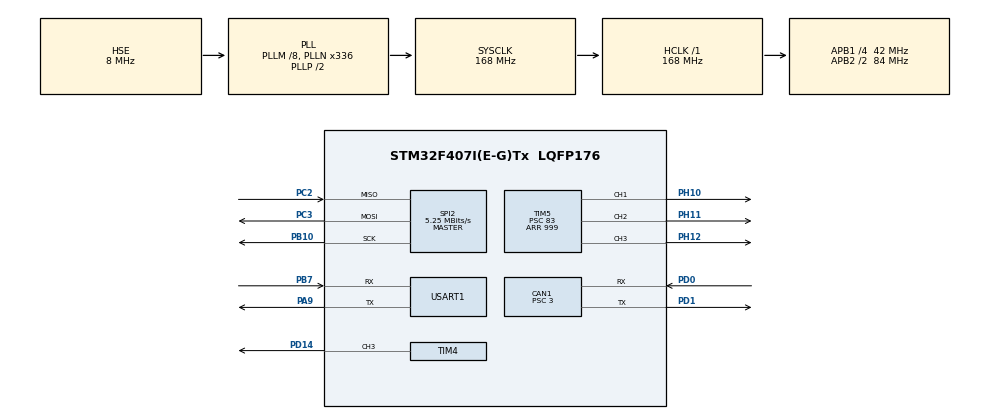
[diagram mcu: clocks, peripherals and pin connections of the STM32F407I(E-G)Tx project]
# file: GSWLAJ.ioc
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CAN1.BS1=CAN_BS1_11TQ
CAN1.BS2=CAN_BS2_2TQ
CAN1.CalculateBaudRate=1000000
CAN1.CalculateTimeBit=1000
CAN1.CalculateTimeQuantum=71.42857142857143
CAN1.Prescaler=3
FREERTOS.Tasks01=defaultTask,24,128,StartDefaultTask,Default,NULL,Dynamic,NULL,NULL
FREERTOS.configTOTAL_HEAP_SIZE=0x4000
Mcu.Family=STM32F4
Mcu.Name=STM32F407I(E-G)Tx
Mcu.Package=LQFP176
NVIC.CAN1_RX0_IRQn=true\:5\:0\:false\:false\:true\:true\:true\:true\:true
NVIC.PriorityGroup=NVIC_PRIORITYGROUP_4
NVIC.TIM1_UP_TIM10_IRQn=true\:15\:0\:false\:false\:true\:false\:false\:true\:true
NVIC.TimeBase=TIM1_UP_TIM10_IRQn
NVIC.TimeBaseIP=TIM1
NVIC.USART1_IRQn=true\:5\:0\:false\:false\:true\:true\:true\:true\:true
PA13.Mode=Serial_Wire
PA13.Signal=SYS_JTMS-SWDIO
PA14.Mode=Serial_Wire
PA14.Signal=SYS_JTCK-SWCLK
PA9.Mode=Asynchronous
PA9.Signal=USART1_TX
PB10.Mode=Full_Duplex_Master
PB10.Signal=SPI2_SCK
PB7.Mode=Asynchronous
PB7.Signal=USART1_RX
PC2.Mode=Full_Duplex_Master
PC2.Signal=SPI2_MISO
PC3.Mode=Full_Duplex_Master
PC3.Signal=SPI2_MOSI
PD0.Mode=CAN_Activate
PD0.Signal=CAN1_RX
PD1.Mode=CAN_Activate
PD1.Signal=CAN1_TX
PD14.Signal=S_TIM4_CH3
PH0-OSC_IN.Mode=HSE-External-Oscillator
PH0-OSC_IN.Signal=RCC_OSC_IN
PH1-OSC_OUT.Mode=HSE-External-Oscillator
PH1-OSC_OUT.Signal=RCC_OSC_OUT
PH10.Signal=S_TIM5_CH1
PH11.Signal=S_TIM5_CH2
PH12.Signal=S_TIM5_CH3
ProjectManager.HeapSize=0x200
ProjectManager.StackSize=0x400
ProjectManager.TargetToolchain=CMake
RCC.48MHZClocksFreq_Value=84000000
RCC.AHBFreq_Value=168000000
RCC.APB1CLKDivider=RCC_HCLK_DIV4
RCC.APB1Freq_Value=42000000
RCC.APB1TimFreq_Value=84000000
RCC.APB2CLKDivider=RCC_HCLK_DIV2
RCC.APB2Freq_Value=84000000
RCC.APB2TimFreq_Value=168000000
RCC.CortexFreq_Value=168000000
RCC.HCLKFreq_Value=168000000
RCC.HSE_VALUE=8000000
RCC.HSI_VALUE=16000000
RCC.PLLM=8
RCC.PLLN=336
RCC.PLLSourceVirtual=RCC_PLLSOURCE_HSE
RCC.SYSCLKFreq_VALUE=168000000
RCC.SYSCLKSource=RCC_SYSCLKSOURCE_PLLCLK
RCC.VCOOutputFreq_Value=336000000
SH.S_TIM4_CH3.0=TIM4_CH3,PWM Generation3 CH3
SH.S_TIM5_CH1.0=TIM5_CH1,PWM Generation1 CH1
SH.S_TIM5_CH2.0=TIM5_CH2,PWM Generation2 CH2
SH.S_TIM5_CH3.0=TIM5_CH3,PWM Generation3 CH3
SPI2.BaudRatePrescaler=SPI_BAUDRATEPRESCALER_8
SPI2.CalculateBaudRate=5.25 MBits/s
SPI2.Direction=SPI_DIRECTION_2LINES
SPI2.Mode=SPI_MODE_MASTER
SPI2.VirtualType=VM_MASTER
TIM4.Channel-PWM\ Generation3\ CH3=TIM_CHANNEL_3
TIM4.Period=999
TIM4.Prescaler=83
TIM5.Channel-PWM\ Generation1\ CH1=TIM_CHANNEL_1
TIM5.Channel-PWM\ Generation2\ CH2=TIM_CHANNEL_2
TIM5.Channel-PWM\ Generation3\ CH3=TIM_CHANNEL_3
TIM5.Period=999
TIM5.Prescaler=83
USART1.VirtualMode=VM_ASYNC
VP_FREERTOS_VS_CMSIS_V2.Mode=CMSIS_V2
VP_SYS_VS_tim1.Mode=TIM1
VP_TIM4_VS_ClockSourceINT.Mode=Internal
VP_TIM5_VS_ClockSourceINT.Mode=Internal
board=custom

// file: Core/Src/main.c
/* USER CODE BEGIN Header */
/**
 ******************************************************************************
 * @file           : main.c
 * @brief          : Main program body
 ******************************************************************************
 * @attention
 *
 * Copyright (c) 2026 STMicroelectronics.
 * All rights reserved.
 *
 * This software is licensed under terms that can be found in the LICENSE file
 * in the root directory of this software component.
 * If no LICENSE file comes with this software, it is provided AS-IS.
 *
 ******************************************************************************
 */
/* USER CODE END Header */
#include "main.h"
#include "can.h"
#include "cmsis_os2.h"
#include "gpio.h"
#include "spi.h"
#include "tim.h"
#include "usart.h"

/* USER CODE BEGIN Includes */
#include "FreeRTOS.h"
#include "task.h"
#include <stdio.h>
#include <stdlib.h>
#include <string.h>

/* USER CODE END Includes */

/* USER CODE BEGIN PV */
#define RX_BUFFER_SIZE 64
uint8_t rx_byte;                // 接收单字节
char rx_buffer[RX_BUFFER_SIZE]; // 接收字符串缓冲区
uint8_t rx_index = 0;           // 缓冲区索引
uint8_t rx_complete_flag = 0;   // 接收完成标志
/* USER CODE END PV */

void SystemClock_Config(void);
void MX_FREERTOS_Init(void);
/* USER CODE BEGIN PFP */
void Synex_SendFloat(float value);
void SynexTask(void *argument);
/* USER CODE END PFP */

/* USER CODE BEGIN 0 */
// ---------------- WS2812 发送函数 ----------------
void WS2812_Send(uint8_t r, uint8_t g, uint8_t b)
{
  uint8_t buf[24];
  uint32_t grb = ((uint32_t)g << 16) | ((uint32_t)r << 8) | b;
  for (int i = 0; i < 24; i++)
  {
    buf[i] = (grb & (1 << (23 - i))) ? 0xF0 : 0xC0;
  }
  HAL_SPI_Transmit(&hspi2, buf, 24, 100);
  uint8_t reset[40] = {0};
  HAL_SPI_Transmit(&hspi2, reset, 40, 100);
}

// ---------------- 任务1：三色LED流水灯 ----------------
// 共阳极，低电平点亮：0 = 亮，999 = 灭
void LedFlowTask(void *argument)
{
  for (;;)
  {
    // 红灯亮 (PH12, TIM5_CH3)
    __HAL_TIM_SET_COMPARE(&htim5, TIM_CHANNEL_3, 0);
    __HAL_TIM_SET_COMPARE(&htim5, TIM_CHANNEL_2, 999);
    __HAL_TIM_SET_COMPARE(&htim5, TIM_CHANNEL_1, 999);
    vTaskDelay(pdMS_TO_TICKS(500));

    // 绿灯亮 (PH11, TIM5_CH2)
    __HAL_TIM_SET_COMPARE(&htim5, TIM_CHANNEL_3, 999);
    __HAL_TIM_SET_COMPARE(&htim5, TIM_CHANNEL_2, 0);
    __HAL_TIM_SET_COMPARE(&htim5, TIM_CHANNEL_1, 999);
    vTaskDelay(pdMS_TO_TICKS(500));

    // 蓝灯亮 (PH10, TIM5_CH1)
    __HAL_TIM_SET_COMPARE(&htim5, TIM_CHANNEL_3, 999);
    __HAL_TIM_SET_COMPARE(&htim5, TIM_CHANNEL_2, 999);
    __HAL_TIM_SET_COMPARE(&htim5, TIM_CHANNEL_1, 0);
    vTaskDelay(pdMS_TO_TICKS(500));
  }
}

// ---------------- 任务2：WS2812 流水变色 ----------------
void WS2812Task(void *argument)
{
  for (;;)
  {
    WS2812_Send(255, 0, 0);
    vTaskDelay(pdMS_TO_TICKS(500));
    WS2812_Send(0, 255, 0);
    vTaskDelay(pdMS_TO_TICKS(500));
    WS2812_Send(0, 0, 255);
    vTaskDelay(pdMS_TO_TICKS(500));
  }
}
// ---------------- 蜂鸣器音调播放函数 ----------------
// freq_hz: 频率(Hz)，0 表示静音
// duration_ms: 持续时间(ms)
void Buzzer_PlayTone(uint32_t freq_hz, uint32_t duration_ms)
{
  if (freq_hz == 0)
  {
    __HAL_TIM_SET_COMPARE(&htim4, TIM_CHANNEL_3, 0);
    vTaskDelay(pdMS_TO_TICKS(duration_ms));
    return;
  }
  uint32_t period = 1000000 / freq_hz;
  __HAL_TIM_SET_AUTORELOAD(&htim4, period - 1);
  __HAL_TIM_SET_COMPARE(&htim4, TIM_CHANNEL_3, period / 2);
  vTaskDelay(pdMS_TO_TICKS(duration_ms));
}

// ---------------- 任务3：蜂鸣器音调（响两次后停止）----------------
void BuzzerTask(void *argument)
{
  // ============ 1. 上电/复位响一声（5分）============
  Buzzer_PlayTone(1000, 200); // 1kHz 响 200ms
  Buzzer_PlayTone(0, 200);    // 静音 200ms

  vTaskDelay(pdMS_TO_TICKS(1000)); // 间隔1秒

  // ============ 2. 响两次报错音调后停止 ============
  for (int i = 0; i < 2; i++)
  {
    // 车辆识别音调（上行三音）
    Buzzer_PlayTone(523, 200); // Do
    Buzzer_PlayTone(659, 200); // Mi
    Buzzer_PlayTone(784, 200); // Sol
    Buzzer_PlayTone(0, 600);   // 静音

    // 报错音调1（双短促高音）
    Buzzer_PlayTone(880, 150); // 高音 La
    Buzzer_PlayTone(0, 100);
    Buzzer_PlayTone(880, 150); // 高音 La
    Buzzer_PlayTone(0, 600);

    // 报错音调2（下行三音）
    Buzzer_PlayTone(784, 200); // Sol
    Buzzer_PlayTone(659, 200); // Mi
    Buzzer_PlayTone(523, 200); // Do
    Buzzer_PlayTone(0, 800);   // 静音
  }

  // ============ 3. 关闭蜂鸣器，任务自我删除 ============
  __HAL_TIM_SET_COMPARE(&htim4, TIM_CHANNEL_3, 0); // 确保 PWM 占空比为0
  vTaskDelete(NULL);                               // 删除自身，停止运行
}
/* ==================== 串口环形缓冲 ==================== */
#define UART1_RX_RING_SIZE 128
static uint8_t g_uart1_ring[UART1_RX_RING_SIZE];
static volatile uint16_t g_uart1_head = 0;
static volatile uint16_t g_uart1_tail = 0;
static uint8_t g_uart1_rx_byte = 0;

/* 互斥锁 */
osMutexId_t uart1_tx_mutex;

/* ==================== JustFloat 发送 ==================== */
void Synex_UploadJustFloat(float data)
{
  float frame[2];
  frame[0] = data;
  const uint32_t tail = 0x7F800000u;
  memcpy(&frame[1], &tail, sizeof(tail));

  osMutexAcquire(uart1_tx_mutex, osWaitForever);
  HAL_UART_Transmit(&huart1, (uint8_t *)frame, 8, 100);
  osMutexRelease(uart1_tx_mutex);
}

void Synex_UploadJustFloat3(float *data)
{
  float frame[4];
  frame[0] = data[0];
  frame[1] = data[1];
  frame[2] = data[2];
  const uint32_t tail = 0x7F800000u;
  memcpy(&frame[3], &tail, sizeof(tail));

  osMutexAcquire(uart1_tx_mutex, osWaitForever);
  HAL_UART_Transmit(&huart1, (uint8_t *)frame, 16, 100);
  osMutexRelease(uart1_tx_mutex);
}

/* ==================== 中断回调：只塞环形缓冲 ==================== */
void HAL_UART_RxCpltCallback(UART_HandleTypeDef *huart)
{
  if (huart->Instance == USART1)
  {
    uint16_t next = (g_uart1_head + 1) % UART1_RX_RING_SIZE;
    if (next != g_uart1_tail)
    {
      g_uart1_ring[g_uart1_head] = g_uart1_rx_byte;
      g_uart1_head = next;
    }
    HAL_UART_Receive_IT(&huart1, &g_uart1_rx_byte, 1);
  }
}

/* ==================== 解析任务 ==================== */
volatile float g_kp = 0.0f;

void UartParseTask(void *argument)
{
  vTaskDelay(pdMS_TO_TICKS(100));
  uint8_t buf[64];
  uint16_t idx = 0;

  for (;;)
  {
    while (g_uart1_tail != g_uart1_head)
    {
      uint8_t b = g_uart1_ring[g_uart1_tail];
      g_uart1_tail = (g_uart1_tail + 1) % UART1_RX_RING_SIZE;

      if (b == '\r' || b == '\n')
      {
        buf[idx] = '\0';
        if (idx > 0)
        {
          char *p = strstr((char *)buf, "kp=");
          if (p != NULL)
          {
            g_kp = atof(p + 3);
            Synex_UploadJustFloat(g_kp); // 收到立刻发回
          }
        }
        idx = 0;
        memset(buf, 0, 64);
      }
      else
      {
        if (idx < 63)
          buf[idx++] = b;
      }
    }
    vTaskDelay(pdMS_TO_TICKS(10));
  }
}

/* ==================== 周期性发送任务 ==================== */
void SynexTask(void *argument)
{
  vTaskDelay(pdMS_TO_TICKS(100));
  for (;;)
  {
    Synex_UploadJustFloat(g_kp);
    vTaskDelay(pdMS_TO_TICKS(100));
  }
}
/* ==================== M3508 电机控制 ==================== */
typedef struct
{
  uint16_t ecd;
  int16_t speed_rpm;
  int16_t given_current;
  uint8_t temperature;
  uint16_t last_ecd;
  int32_t round_cnt;
  int32_t total_ecd;
  float real_angle;
} Motor_Measure_t;

Motor_Measure_t motor1 = {0};

typedef struct
{
  float Kp, Ki, Kd;
  float integral, prev_error;
  float out_max;
} PID_Controller;

PID_Controller angle_pid = {1.0f, 0.0f, 0.1f, 0, 0, 8000.0f};
PID_Controller speed_pid = {10.0f, 0.5f, 0.0f, 0, 0, 16000.0f};

float PID_Calc(PID_Controller *pid, float target, float measured)
{
  float error = target - measured;
  pid->integral += error;
  if (pid->integral > pid->out_max)
    pid->integral = pid->out_max;
  if (pid->integral < -pid->out_max)
    pid->integral = -pid->out_max;
  float derivative = error - pid->prev_error;
  pid->prev_error = error;
  float output = pid->Kp * error + pid->Ki * pid->integral + pid->Kd * derivative;
  if (output > pid->out_max)
    output = pid->out_max;
  if (output < -pid->out_max)
    output = -pid->out_max;
  return output;
}

void CAN_Send_Current(CAN_HandleTypeDef *hcan, int16_t m1, int16_t m2, int16_t m3, int16_t m4)
{
  CAN_TxHeaderTypeDef tx_header;
  uint8_t tx_data[8];
  uint32_t tx_mailbox;
  tx_header.StdId = 0x200;
  tx_header.IDE = CAN_ID_STD;
  tx_header.RTR = CAN_RTR_DATA;
  tx_header.DLC = 8;
  tx_data[0] = (uint8_t)(m1 >> 8);
  tx_data[1] = (uint8_t)(m1 & 0xFF);
  tx_data[2] = (uint8_t)(m2 >> 8);
  tx_data[3] = (uint8_t)(m2 & 0xFF);
  tx_data[4] = (uint8_t)(m3 >> 8);
  tx_data[5] = (uint8_t)(m3 & 0xFF);
  tx_data[6] = (uint8_t)(m4 >> 8);
  tx_data[7] = (uint8_t)(m4 & 0xFF);
  HAL_CAN_AddTxMessage(hcan, &tx_header, tx_data, &tx_mailbox);
}

void Motor_CAN_RxCallback(CAN_HandleTypeDef *hcan)
{
  CAN_RxHeaderTypeDef rx_header;
  uint8_t rx_data[8];
  if (HAL_CAN_GetRxMessage(hcan, CAN_RX_FIFO0, &rx_header, rx_data) != HAL_OK)
    return;
  if (rx_header.StdId == 0x201)
  { // 电机 ID = 1
    motor1.last_ecd = motor1.ecd;
    motor1.ecd = (uint16_t)(rx_data[0] << 8 | rx_data[1]);
    motor1.speed_rpm = (int16_t)(rx_data[2] << 8 | rx_data[3]);
    motor1.given_current = (int16_t)(rx_data[4] << 8 | rx_data[5]);
    motor1.temperature = rx_data[6];
    if (motor1.ecd - motor1.last_ecd > 4096)
      motor1.round_cnt--;
    else if (motor1.ecd - motor1.last_ecd < -4096)
      motor1.round_cnt++;
    motor1.total_ecd = motor1.ecd + motor1.round_cnt * 8192;
    motor1.real_angle = (float)motor1.total_ecd * (360.0f / 8192.0f);
  }
}

// 任务5：角度闭环控制（2 秒从 0° -> 90° -> -90°）
void AngleControlTask(void *argument)
{
  vTaskDelay(pdMS_TO_TICKS(100));
  float start_angle = motor1.real_angle;
  float target_seq[3] = {0.0f, 90.0f, -90.0f};
  uint8_t seq_index = 0;
  uint32_t last_time = xTaskGetTickCount();

  for (;;)
  {
    angle_pid.Kp = g_kp;

    float target = start_angle + target_seq[seq_index];
    float angle_output = PID_Calc(&angle_pid, target, motor1.real_angle);
    float speed_feedback = (float)motor1.speed_rpm * (8192.0f / 60.0f);
    float speed_output = PID_Calc(&speed_pid, angle_output, speed_feedback);

    int16_t current_cmd = (int16_t)speed_output;
    if (current_cmd > 16384)
      current_cmd = 16384;
    if (current_cmd < -16384)
      current_cmd = -16384;
    CAN_Send_Current(&hcan1, current_cmd, 0, 0, 0);

    if ((xTaskGetTickCount() - last_time) >= pdMS_TO_TICKS(2000))
    {
      last_time = xTaskGetTickCount();
      seq_index = (seq_index + 1) % 3;
    }
    vTaskDelay(pdMS_TO_TICKS(1));
  }
}

// 任务6：Synex 打印电机数据（电流 / 角度 / 转速）
void MotorDataTask(void *argument)
{
  vTaskDelay(pdMS_TO_TICKS(100));
  float data[3];
  for (;;)
  {
    data[0] = (float)motor1.given_current;
    data[1] = motor1.real_angle;
    data[2] = (float)motor1.speed_rpm;
    Synex_UploadJustFloat3(data);
    vTaskDelay(pdMS_TO_TICKS(10));
  }
}
/* USER CODE END 0 */

int main(void)
{

  /* MCU Configuration--------------------------------------------------------*/

  /* Reset of all peripherals, Initializes the Flash interface and the Systick. */
  HAL_Init();

  /* Configure the system clock */
  SystemClock_Config();

  /* Initialize all configured peripherals */
  MX_GPIO_Init();
  MX_TIM4_Init();
  MX_SPI2_Init();
  MX_TIM5_Init();
  MX_CAN1_Init();
  MX_USART1_UART_Init();
  /* USER CODE BEGIN 2 */
  // 启动TIM5的三路PWM
  HAL_TIM_PWM_Start(&htim5, TIM_CHANNEL_3); // PH12 红
  HAL_TIM_PWM_Start(&htim5, TIM_CHANNEL_2); // PH11 绿
  HAL_TIM_PWM_Start(&htim5, TIM_CHANNEL_1); // PH10 蓝
  HAL_TIM_PWM_Start(&htim4, TIM_CHANNEL_3);
  // 创建互斥锁
  uart1_tx_mutex = osMutexNew(NULL);
  // 串口接收初始化（启动串口1接收中断）
  HAL_UART_Receive_IT(&huart1, &g_uart1_rx_byte, 1);
  // CAN1 启动
  HAL_CAN_Start(&hcan1);
  HAL_CAN_ActivateNotification(&hcan1, CAN_IT_RX_FIFO0_MSG_PENDING);

  // 创建任务（CMSIS_V2）
  /*osThreadNew(LedFlowTask, NULL, NULL);
  osThreadNew(WS2812Task, NULL, NULL);
  osThreadNew(BuzzerTask, NULL, NULL);*/
  // 新增串口任务
  osThreadNew(UartParseTask, NULL, NULL);
  osThreadNew(SynexTask, NULL, NULL);        // 串口 JustFloat（任务四）
  osThreadNew(AngleControlTask, NULL, NULL); // 角度闭环（任务五）
  osThreadNew(MotorDataTask, NULL, NULL);    // 电机数据打印（任务五）
  /* USER CODE END 2 */

  /* Init scheduler */
  osKernelInitialize(); /* Call init function for freertos objects (in cmsis_os2.c) */
  MX_FREERTOS_Init();

  /* Start scheduler */
  osKernelStart();

  /* We should never get here as control is now taken by the scheduler */

  /* Infinite loop */
  while (1)
  {

    /* USER CODE BEGIN 3 */
    vTaskDelay(pdMS_TO_TICKS(1000));
  }
  /* USER CODE END 3 */
}

void SystemClock_Config(void)
{
  RCC_OscInitTypeDef RCC_OscInitStruct = {0};
  RCC_ClkInitTypeDef RCC_ClkInitStruct = {0};

  /** Configure the main internal regulator output voltage
   */
  __HAL_RCC_PWR_CLK_ENABLE();
  __HAL_PWR_VOLTAGESCALING_CONFIG(PWR_REGULATOR_VOLTAGE_SCALE1);

  /** Initializes the RCC Oscillators according to the specified parameters
   * in the RCC_OscInitTypeDef structure.
   */
  RCC_OscInitStruct.OscillatorType = RCC_OSCILLATORTYPE_HSE;
  RCC_OscInitStruct.HSEState = RCC_HSE_ON;
  RCC_OscInitStruct.PLL.PLLState = RCC_PLL_ON;
  RCC_OscInitStruct.PLL.PLLSource = RCC_PLLSOURCE_HSE;
  RCC_OscInitStruct.PLL.PLLM = 8;
  RCC_OscInitStruct.PLL.PLLN = 336;
  RCC_OscInitStruct.PLL.PLLP = RCC_PLLP_DIV2;
  RCC_OscInitStruct.PLL.PLLQ = 4;
  if (HAL_RCC_OscConfig(&RCC_OscInitStruct) != HAL_OK)
  {
    Error_Handler();
  }

  /** Initializes the CPU, AHB and APB buses clocks
   */
  RCC_ClkInitStruct.ClockType = RCC_CLOCKTYPE_HCLK | RCC_CLOCKTYPE_SYSCLK | RCC_CLOCKTYPE_PCLK1 | RCC_CLOCKTYPE_PCLK2;
  RCC_ClkInitStruct.SYSCLKSource = RCC_SYSCLKSOURCE_PLLCLK;
  RCC_ClkInitStruct.AHBCLKDivider = RCC_SYSCLK_DIV1;
  RCC_ClkInitStruct.APB1CLKDivider = RCC_HCLK_DIV4;
  RCC_ClkInitStruct.APB2CLKDivider = RCC_HCLK_DIV2;

  if (HAL_RCC_ClockConfig(&RCC_ClkInitStruct, FLASH_LATENCY_5) != HAL_OK)
  {
    Error_Handler();
  }
}

void HAL_TIM_PeriodElapsedCallback(TIM_HandleTypeDef *htim)
{
  if (htim->Instance == TIM1)
  {
    HAL_IncTick();
  }
}

void Error_Handler(void)
{
  __disable_irq();
  while (1)
  {
  }
}
